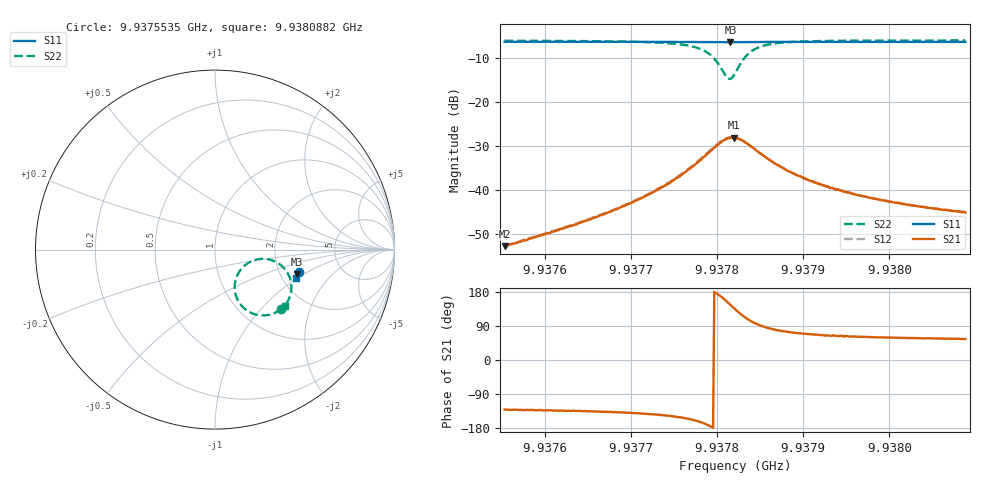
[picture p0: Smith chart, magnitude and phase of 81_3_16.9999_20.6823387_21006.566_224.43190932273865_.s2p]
#  HZ  S  RI  R  50.00
! Rohde & Schwarz Vector Network Analyzer
! Rohde-Schwarz,ZNB20-2Port,1311601062101988,3.16
! Created: UTC 3/20/2024, 10:55:44 PM
! freq[Hz]  re:S11  im:S11  re:S21  im:S21  re:S12  im:S12  re:S22  im:S22
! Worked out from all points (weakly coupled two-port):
!   401 points, 9.9375535 GHz to 9.9380882 GHz, reference 50 ohm
!   highest |S21| = -28.16 dB at 9.9378195 GHz (marker M1); lowest = -52.8 dB at 9.9375535 GHz (marker M2)
!   lowest |S11| = -6.4 dB at 9.9378155 GHz (marker M3), VSWR 2.82, Z = 123 - j43.8 ohm
!   |S11| at or under -10 dB: nowhere
!   |S22| runs from -14.8 to -6.0 dB; largest |S21 - S12| = 0.0023
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9.93755351e9  0.4665 -0.1227  -0.00149 -0.00173  -0.00153 -0.00171  0.3691 -0.3305
9.93764307e9  0.4642 -0.1288  -0.00305 -0.00303  -0.00314 -0.00303  0.3508 -0.3435
9.93769787e9  0.4626 -0.1328  -0.00525 -0.00454  -0.00543 -0.00451  0.328 -0.355
9.93773262e9  0.4617 -0.1353  -0.00833 -0.00589  -0.00862 -0.00592  0.2995 -0.3637
9.9377647e9  0.4601 -0.1377  -0.0147 -0.00707  -0.0153 -0.007  0.2445 -0.3654
9.93778475e9  0.4587 -0.1389  -0.0231 -0.00521  -0.0239 -0.00479  0.1776 -0.3391
9.93779411e9  0.4577 -0.1392  -0.0284 -0.00141  -0.0295 -0.000845  0.138 -0.2997
9.93780347e9  0.4568 -0.139  -0.0333 0.00615  -0.0343 0.00777  0.1107 -0.2273
9.93781149e9  0.4562 -0.1383  -0.0341 0.0166  -0.0343 0.0186  0.1242 -0.1436
9.9378155e9  0.4561 -0.1379  -0.0323 0.022  -0.0317 0.024  0.1497 -0.1045
9.93781951e9  0.4565 -0.1375  -0.0287 0.0265  -0.0278 0.0284  0.1862 -0.074
9.93782084e9  0.4566 -0.1374  -0.0273 0.0278  -0.0263 0.0296  0.1998 -0.0667
9.93782753e9  0.4572 -0.1372  -0.0192 0.0318  -0.0179 0.0329  0.2704 -0.0515
9.93783421e9  0.458 -0.1374  -0.0115 0.0319  -0.0101 0.0325  0.3299 -0.0645
9.93784089e9  0.4587 -0.1379  -0.00573 0.0298  -0.00459 0.0302  0.3711 -0.0902
9.93784758e9  0.4589 -0.1387  -0.00183 0.027  -0.000799 0.0272  0.3967 -0.1186
9.93786094e9  0.4593 -0.1401  0.00244 0.0217  0.00308 0.0217  0.4197 -0.1667
9.93788099e9  0.4592 -0.142  0.00433 0.0161  0.00491 0.016  0.4255 -0.2142
9.9379104e9  0.4584 -0.1443  0.00472 0.0116  0.00514 0.0113  0.4198 -0.2518
9.93794782e9  0.4574 -0.1472  0.0043 0.00843  0.0046 0.00842  0.4106 -0.277
9.93799995e9  0.4562 -0.1507  0.00372 0.00627  0.0039 0.0063  0.4007 -0.2956
9.93808817e9  0.4539 -0.1565  0.00312 0.00455  0.00324 0.00455  0.3889 -0.3126
